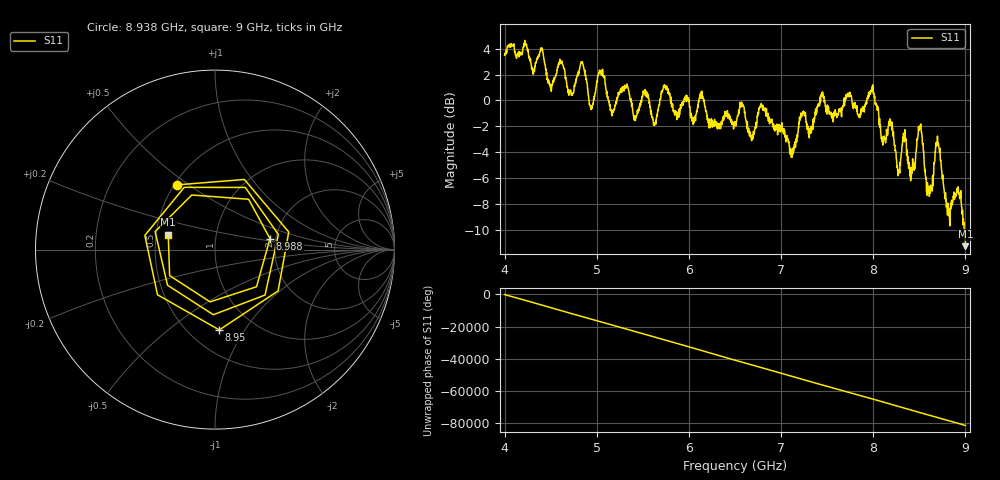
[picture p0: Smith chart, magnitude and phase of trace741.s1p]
! Created with skrf 1.8.0 (http://scikit-rf.org).
# Hz S RI R 50.0
!freq ReS11 ImS11
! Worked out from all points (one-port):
!   1601 points, 4 GHz to 9 GHz, reference 50 ohm
!   lowest |S11| = -11.3 dB at 9 GHz (marker M1), VSWR 1.75, Z = 29 + j5.26 ohm
!   |S11| at or under -10 dB: 8.987366 GHz to end of sweep
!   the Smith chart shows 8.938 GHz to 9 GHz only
!   S11 on the Smith chart (normalised r, x): 8.938 GHz: 0.52, +0.45; 8.95 GHz: 0.69, -0.78; 8.988 GHz: 1.86, +0.25; 9 GHz: 0.58, +0.11
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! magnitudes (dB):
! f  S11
! 4 GHz  3.5
! 4.625 GHz  2.9
! 4.722 GHz  0.5
! 4.847 GHz  2.8
! 4.938 GHz  -0.7
! 5.041 GHz  2.3
! 5.162 GHz  -1.2
! 5.25 GHz  0.7
! 5.875 GHz  -1.3
! 6.5 GHz  -1.8
! 6.575 GHz  -0.3
! 6.681 GHz  -3.1
! 6.794 GHz  -0.5
! 7.125 GHz  -4.1
! 7.225 GHz  -1.1
! 7.75 GHz  0.6
! 7.991 GHz  0.8
! 8.109 GHz  -2.9
! 8.375 GHz  -4.3
! 8.425 GHz  -5.3
! 8.506 GHz  -2.2
! 8.603 GHz  -6.8
! 8.7 GHz  -3.5
! 8.812 GHz  -8.4
! 8.938 GHz  -7.6
! 8.95 GHz  -7.0
! 8.988 GHz  -10.1
! 9 GHz  -11.3
